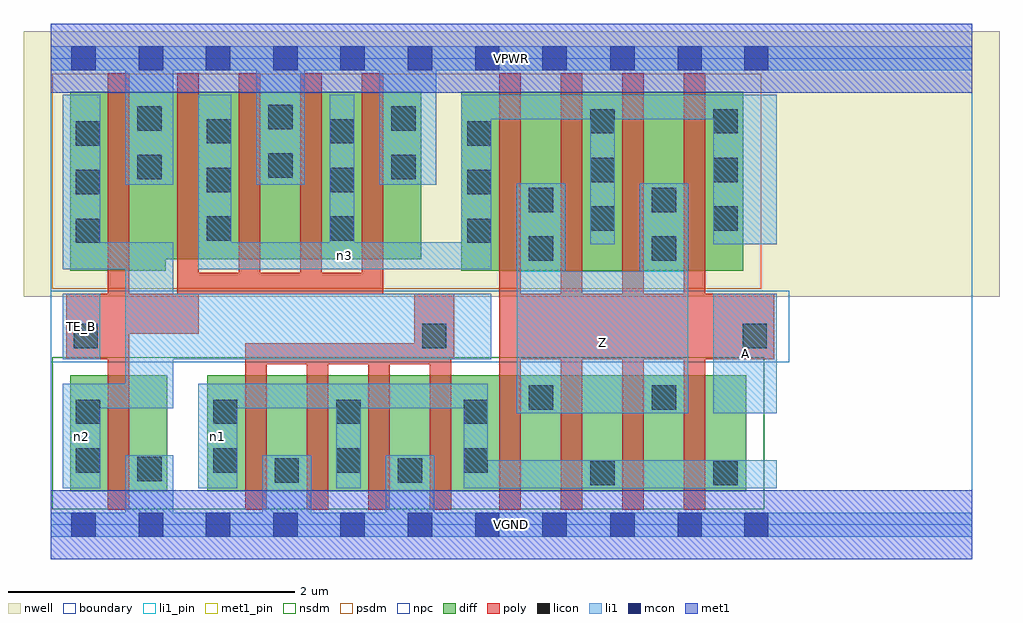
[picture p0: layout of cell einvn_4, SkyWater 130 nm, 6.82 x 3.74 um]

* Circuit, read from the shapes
.subckt einvn_4 A TE_B VGND VPWR Z n1 n2 n3
XM1 VGND TE_B n2 VSUBS sky130_fd_pr__nfet_01v8 w=0.81 l=0.15
XM2 VGND n2 n1 VSUBS sky130_fd_pr__nfet_01v8 w=0.81 l=0.15 m=4
XM3 Z A n1 VSUBS sky130_fd_pr__nfet_01v8 w=0.81 l=0.15 m=4
XM4 VPWR TE_B n2 n4 sky130_fd_pr__pfet_01v8 w=1.25 l=0.15
XM5 n3 TE_B VPWR n4 sky130_fd_pr__pfet_01v8 w=1.17 l=0.15 m=4
XM6 Z A n3 n4 sky130_fd_pr__pfet_01v8 w=1.25 l=0.15 m=4
.ends

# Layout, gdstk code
import gdstk
lib = gdstk.Library(unit=1e-6, precision=1e-09)
def R(c, l, rs):  # rectangles x0, y0, x1, y1
    for r in rs: c.add(gdstk.rectangle(r[:2], r[2:], *l))
def A(c, l, x, y, w, h, nx, ny, dx, dy):  # array of equal rectangles
    R(c, l, [(x+i*dx, y+j*dy, x+i*dx+w, y+j*dy+h) for i in range(nx) for j in range(ny)])
nwell = (64, 20)
diff = (65, 20)
poly = (66, 20)
licon = (66, 44)
li1_pin = (67, 16)
li1 = (67, 20)
mcon = (67, 44)
met1_pin = (68, 16)
met1 = (68, 20)
nsdm = (93, 44)
psdm = (94, 20)
npc = (95, 20)
boundary = (235, 4)

einvn_4 = lib.new_cell('einvn_4')
R(einvn_4, nwell, [(-0.19,1.595,6.63,3.45), (0,1.595,6.44,3.45)])
R(einvn_4, diff, [(0.135,0.235,0.815,1.045), (1.095,0.235,4.86,1.045), (0.135,1.775,0.805,3.025), (2.87,1.775,4.84,3.025), (0.135,1.855,2.59,3.025)])
A(einvn_4, poly, 1.36, 0.105, 0.15, 1.165, 3, 1, 0.43, 0)
A(einvn_4, poly, 3.135, 0.105, 0.15, 3.05, 4, 1, 0.43, 0)
A(einvn_4, poly, 1.315, 1.61, 0.15, 1.545, 3, 1, 0.43, 0)
R(einvn_4, poly, [(0.4,0.105,0.55,3.155), (2.65,0.105,2.8,1.615), (1.36,1.12,2.8,1.27), (0.11,1.155,0.55,1.615), (2.54,1.155,2.82,1.615), (3.135,1.155,5.055,1.615), (0.11,1.335,1.035,1.615), (0.885,1.335,1.035,3.155), (0.885,1.61,2.325,1.76)])
A(einvn_4, licon, 0.175, 1.97, 0.17, 0.17, 1, 3, 0, 0.34)
A(einvn_4, licon, 2.91, 1.97, 0.17, 0.17, 1, 3, 0, 0.34)
A(einvn_4, licon, 1.09, 1.985, 0.17, 0.17, 1, 3, 0, 0.34)
A(einvn_4, licon, 1.95, 1.985, 0.17, 0.17, 1, 3, 0, 0.34)
A(einvn_4, licon, 3.77, 2.055, 0.17, 0.17, 1, 3, 0, 0.34)
A(einvn_4, licon, 4.63, 2.055, 0.17, 0.17, 1, 3, 0, 0.34)
R(einvn_4, licon, [(3.77,0.275,3.94,0.445), (4.63,0.275,4.8,0.445), (1.565,0.295,1.735,0.465), (2.425,0.295,2.595,0.465), (0.605,0.305,0.775,0.475), (0.175,0.365,0.345,0.535), (1.135,0.365,1.305,0.535), (1.995,0.365,2.165,0.535), (2.885,0.365,3.055,0.535), (0.175,0.705,0.345,0.875), (1.135,0.705,1.305,0.875), (1.995,0.705,2.165,0.875), (2.885,0.705,3.055,0.875), (3.34,0.805,3.51,0.975), (4.2,0.805,4.37,0.975), (0.16,1.235,0.33,1.405), (2.595,1.235,2.765,1.405), (4.835,1.235,5.005,1.405), (3.34,1.845,3.51,2.015), (4.2,1.845,4.37,2.015), (3.34,2.185,3.51,2.355), (4.2,2.185,4.37,2.355), (0.605,2.415,0.775,2.585), (2.38,2.415,2.55,2.585), (1.52,2.425,1.69,2.595), (0.605,2.755,0.775,2.925), (2.38,2.755,2.55,2.925), (1.52,2.765,1.69,2.935)])
R(einvn_4, li1_pin, [(3.255,0.78,4.455,1.77), (4.63,0.78,5.075,1.615), (0.085,1.155,0.345,1.615)])
R(einvn_4, li1, [(0,-0.085,6.44,0.085), (0.52,-0.085,0.855,0.485), (1.48,-0.085,1.82,0.485), (2.34,-0.085,2.68,0.485), (0.085,0.255,0.345,0.985), (1.03,0.255,1.305,0.985), (1.995,0.255,2.165,0.985), (2.885,0.255,3.055,0.985), (2.885,0.255,5.075,0.45), (3.255,0.78,4.455,1.77), (3.255,0.78,3.595,2.385), (4.115,0.78,4.455,2.385), (4.63,0.78,5.075,1.615), (0.085,0.815,0.855,0.985), (0.52,0.815,0.855,1.975), (1.03,0.815,3.055,0.985), (0.085,1.155,0.345,1.615), (0.52,1.155,3.08,1.615), (0.085,1.785,0.345,3.005), (0.085,1.785,0.855,1.975), (1.03,1.785,3.08,1.975), (1.03,1.785,1.26,3.005), (1.95,1.785,2.12,3.005), (2.87,1.785,3.08,3.005), (3.77,1.96,3.94,3.005), (4.63,1.96,5.075,3.005), (0.52,2.375,0.855,3.345), (1.435,2.375,1.775,3.345), (2.295,2.375,2.695,3.345), (2.87,2.835,5.075,3.005), (0,3.175,6.44,3.345)])
A(einvn_4, mcon, 0.145, -0.085, 0.17, 0.17, 8, 2, 0.47, 3.26)
R(einvn_4, mcon, [(3.91,-0.085,4.08,0.085), (4.38,-0.085,4.55,0.085), (4.845,-0.085,5.015,0.085), (3.91,3.175,4.08,3.345), (4.38,3.175,4.55,3.345), (4.845,3.175,5.015,3.345)])
R(einvn_4, met1_pin, [(0,-0.24,6.44,0.24), (0,3.02,6.44,3.5)])
R(einvn_4, met1, [(0,-0.24,6.44,0.24), (0,3.02,6.44,3.5)])
R(einvn_4, nsdm, [(0.01,0.11,4.985,1.17)])
R(einvn_4, psdm, [(0.01,1.65,4.965,3.15)])
R(einvn_4, npc, [(0,1.135,5.16,1.635)])
R(einvn_4, boundary, [(0,0,6.44,3.26)])
einvn_4.add(gdstk.Label('A', (4.852,1.197), layer=67, texttype=5))
einvn_4.add(gdstk.Label('TE_B', (0.215,1.385), layer=67, texttype=5))
einvn_4.add(gdstk.Label('Z', (3.855,1.275), layer=67, texttype=5))
einvn_4.add(gdstk.Label('n1', (1.167,0.62), layer=67, texttype=5))
einvn_4.add(gdstk.Label('n2', (0.215,0.62), layer=67, texttype=5))
einvn_4.add(gdstk.Label('n3', (2.055,1.88), layer=67, texttype=5))
einvn_4.add(gdstk.Label('VPWR', (3.22,3.26), layer=68, texttype=5))
einvn_4.add(gdstk.Label('VGND', (3.22,0), layer=68, texttype=5))
einvn_4.add(gdstk.Label('A', (4.852,1.197), layer=67, texttype=16))
einvn_4.add(gdstk.Label('TE_B', (0.215,1.385), layer=67, texttype=16))
einvn_4.add(gdstk.Label('Z', (3.855,1.275), layer=67, texttype=16))
einvn_4.add(gdstk.Label('VPWR', (3.22,3.26), layer=68, texttype=16))
einvn_4.add(gdstk.Label('VGND', (3.22,0), layer=68, texttype=16))

lib.write_gds('einvn_4.gds')
